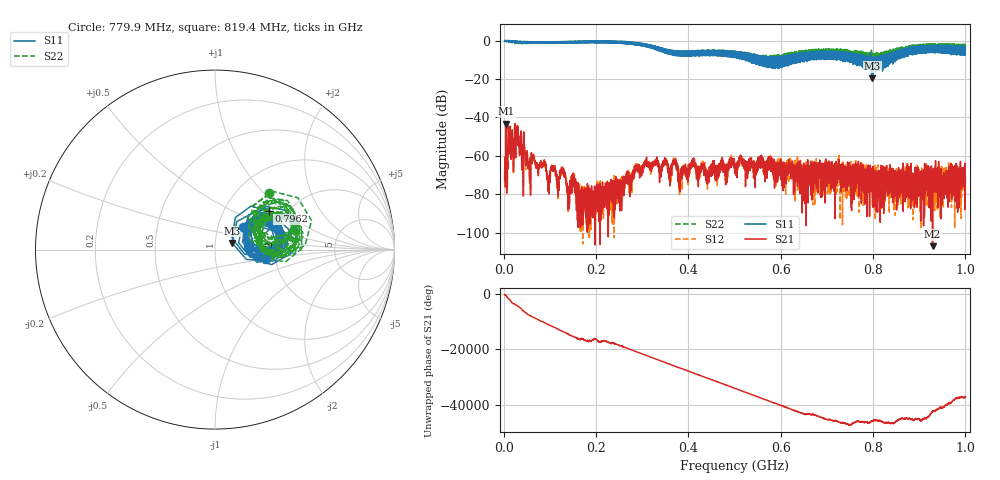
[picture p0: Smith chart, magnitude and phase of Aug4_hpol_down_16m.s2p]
!Keysight Technologies N9923A: A.12.45
!Date: Tuesday, 05 August 2025 18:16:54
!Timezone: (UTC+08:00) Kuala Lumpur, Singapore
!Model: N9923A
!Serial: MY61181427
!GPS Latitude:
!GPS Longitude:
!GPS TimeStamp: 0001-01-01 00:00:00Z
!GPS Seconds Since Last Read: 0
!CHECKSUM:0049925977
!Correction: S11(ON U)S21(ON U)S12(ON U)S22(ON U)
!S2P File: Measurements:S11,S21,S12,S22:
# Hz S DB R 50
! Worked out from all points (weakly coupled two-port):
!   4001 points, 2 MHz to 1 GHz, reference 50 ohm
!   highest |S21| = -43.18 dB at 5.493 MHz (marker M1); lowest = -107.0 dB at 928.9 MHz (marker M2)
!   lowest |S11| = -19.7 dB at 798.7 MHz (marker M3), VSWR 1.23, Z = 60.6 + j4.46 ohm
!   |S11| at or under -10 dB: 796.3998 MHz to 797.5089 MHz (1.109 MHz wide, 0.139 % of centre); 798.1311 MHz to 799.2262 MHz (1.095 MHz wide, 0.137 % of centre); 799.8817 MHz to 801.0297 MHz (1.148 MHz wide, 0.143 % of centre)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
!   |S22| runs from -14.0 to 0.1 dB; largest |S21 - S12| = 0.0012
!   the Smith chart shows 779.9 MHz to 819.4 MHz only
!   S11 on the Smith chart (normalised r, x): 779.9 MHz: 1.32, +0.35; 796.2 MHz: 1.61, +0.80; 819.4 MHz: 1.78, -0.23
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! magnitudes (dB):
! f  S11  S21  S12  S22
! 2 MHz  -0.1  -72.8  -70.9  -0.1
! 5.493 MHz  -0.5  -43.2  -43.1  -0.5
! 14.47 MHz  -0.9  -49.4  -49.3  -0.4
! 28.2 MHz  -0.4  -49.3  -49.6  -0.3
! 53.9 MHz  -0.9  -65.4  -65.2  -0.9
! 128 MHz  -1.3  -67.9  -67.3  -1.1
! 140.2 MHz  -1.0  -84.9  -89.5  -1.0
! 168.4 MHz  -1.2  -85.7  -89.7  -1.0
! 334.8 MHz  -4.2  -65.8  -63.6  -4.9
! 370.3 MHz  -5.3  -63.6  -61.7  -5.6
! 381.7 MHz  -6.1  -71.9  -71.4  -6.8
! 409.9 MHz  -7.3  -63.3  -63.7  -7.7
! 442.4 MHz  -5.1  -73.7  -70.9  -5.4
! 501 MHz  -6.4  -64.5  -64.2  -7.2
! 667.4 MHz  -9.0  -64.4  -65.1  -8.0
! 779.9 MHz  -13.9  -66.6  -68.0  -7.2
! 796.2 MHz  -8.7  -76.1  -68.7  -6.0
! 798.7 MHz  -19.7  -72.6  -67.4  -8.4
! 819.4 MHz  -10.7  -74.3  -78.0  -11.9
! 833.8 MHz  -9.7  -68.0  -66.6  -5.5
! 928.9 MHz  -3.6  -107.0  -76.6  -4.7
! 1 GHz  -3.1  -78.1  -74.4  -3.8
